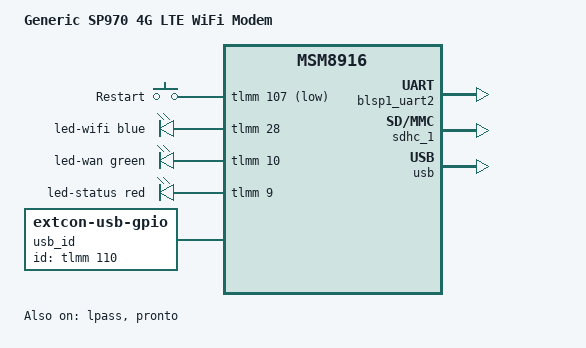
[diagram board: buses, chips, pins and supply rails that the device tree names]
// SPDX-License-Identifier: GPL-2.0-only
/*
 * Copyright (C) 2021-2022 HandsomeYingyan
 * Unified device tree for kernel 6.12+ compatibility
 */

/dts-v1/;

#include <dt-bindings/gpio/gpio.h>
#include <dt-bindings/input/input.h>
#include <dt-bindings/leds/common.h>
#include <dt-bindings/pinctrl/qcom,pmic-gpio.h>
#include <dt-bindings/sound/apq8016-lpass.h>
#include "msm8916-pm8916.dtsi"
#include "msm8916-modem.dtsi"

/ {
	model = "Generic SP970 4G LTE WiFi Modem";
	compatible = "generic,sp970", "qcom,msm8916";
	chassis-type = "embedded";

	aliases {
		serial0 = &blsp1_uart2;
		mmc0 = &sdhc_1;
	};

	chosen {
		stdout-path = "serial0";
	};

	reserved-memory {
		mpss_mem: gps_mem: mpss@86800000 {
			reg = <0x0 0x86800000 0x0 0x5500000>;
			no-map;
		};
	};

	gpio-keys {
		compatible = "gpio-keys";
		pinctrl-names = "default";
		pinctrl-0 = <&gpio_keys_default>;

		button-restart {
			label = "Restart";
			gpios = <&tlmm 107 GPIO_ACTIVE_LOW>;
			linux,code = <KEY_RESTART>;
			debounce-interval = <15>;
		};
	};

	leds {
		compatible = "gpio-leds";
		pinctrl-names = "default";
		pinctrl-0 = <&gpio_leds_default>;

		led-wifi {
			color = <LED_COLOR_ID_BLUE>;
			function = LED_FUNCTION_WLAN;
			gpios = <&tlmm 28 GPIO_ACTIVE_HIGH>;
			linux,default-trigger = "phy0tx";
			default-state = "off";
		};

		led-wan {
			color = <LED_COLOR_ID_GREEN>;
			function = LED_FUNCTION_WAN;
			gpios = <&tlmm 10 GPIO_ACTIVE_HIGH>;
			default-state = "off";
		};

		led-status {
			color = <LED_COLOR_ID_RED>;
			function = LED_FUNCTION_STATUS;
			gpios = <&tlmm 9 GPIO_ACTIVE_HIGH>;
			linux,default-trigger = "heartbeat";
			default-state = "on";
		};
	};

	usb_id: usb-id {
		compatible = "linux,extcon-usb-gpio";
		id-gpios = <&tlmm 110 GPIO_ACTIVE_HIGH>;
		pinctrl-names = "default";
		pinctrl-0 = <&usb_id_default>;
	};
};

/*
 * The modem firmware sends a "query_size" memshare request for client ID 1,
 * but basically does not do anything with it. GPS works only if:
 * - Memshare is not present or
 * - Memshare replies to the request with an error
 * Overall it seems pointless to enable memshare for this device.
 */
&memshare {
	status = "disabled";
};

&blsp_dma {
	status = "okay";
};

&blsp1_uart2 {
	status = "okay";
};

&lpass {
	status = "okay";
};

&pronto {
	status = "okay";

	iris {
		compatible = "qcom,wcn3660b";
	};
};

&sdhc_1 {
	status = "okay";
	pinctrl-names = "default", "sleep";
	pinctrl-0 = <&sdc1_clk_on &sdc1_cmd_on &sdc1_data_on>;
	pinctrl-1 = <&sdc1_clk_off &sdc1_cmd_off &sdc1_data_off>;
};

&sound {
	status = "disabled";
};

&usb {
	status = "okay";
	extcon = <&usb_id>, <&usb_id>;
};

&usb_hs_phy {
	extcon = <&usb_id>;
};

&tlmm {
	gpio_keys_default: gpio-keys-default-state {
		pins = "gpio107";
		function = "gpio";
		drive-strength = <2>;
		bias-pull-up;
	};

	gpio_leds_default: gpio-leds-default-state {
		pins = "gpio9", "gpio10", "gpio28";
		function = "gpio";
		drive-strength = <2>;
		bias-disable;
	};

	usb_id_default: usb-id-default-state {
		pins = "gpio110";
		function = "gpio";
		drive-strength = <8>;
		bias-pull-up;
	};
};

&smd_rpm_regulators {
	vdd_l1_l2_l3-supply = <&pm8916_s3>;
	vdd_l4_l5_l6-supply = <&pm8916_s4>;
	vdd_l7-supply = <&pm8916_s4>;

	s3 {
		regulator-min-microvolt = <1200000>;
		regulator-max-microvolt = <1300000>;
	};

	s4 {
		regulator-min-microvolt = <1800000>;
		regulator-max-microvolt = <2100000>;
	};

	l1 {
		regulator-min-microvolt = <1225000>;
		regulator-max-microvolt = <1225000>;
	};

	l2 {
		regulator-min-microvolt = <1200000>;
		regulator-max-microvolt = <1200000>;
	};

	l4 {
		regulator-min-microvolt = <2050000>;
		regulator-max-microvolt = <2050000>;
	};

	l5 {
		regulator-min-microvolt = <1800000>;
		regulator-max-microvolt = <1800000>;
	};

	l6 {
		regulator-min-microvolt = <1800000>;
		regulator-max-microvolt = <1800000>;
	};

	l7 {
		regulator-min-microvolt = <1800000>;
		regulator-max-microvolt = <1800000>;
	};

	l8 {
		regulator-min-microvolt = <2850000>;
		regulator-max-microvolt = <2900000>;
	};

	l9 {
		regulator-min-microvolt = <3300000>;
		regulator-max-microvolt = <3300000>;
	};

	l10 {
		regulator-min-microvolt = <2700000>;
		regulator-max-microvolt = <2800000>;
	};

	l11 {
		regulator-min-microvolt = <1800000>;
		regulator-max-microvolt = <2950000>;
		regulator-allow-set-load;
		regulator-system-load = <200000>;
	};

	l12 {
		regulator-min-microvolt = <1800000>;
		regulator-max-microvolt = <2950000>;
	};

	l13 {
		regulator-min-microvolt = <3075000>;
		regulator-max-microvolt = <3075000>;
	};

	l14 {
		regulator-min-microvolt = <1800000>;
		regulator-max-microvolt = <3300000>;
	};

	l15 {
		regulator-min-microvolt = <1800000>;
		regulator-max-microvolt = <3300000>;
	};

	l16 {
		regulator-min-microvolt = <1800000>;
		regulator-max-microvolt = <3300000>;
	};

	l17 {
		regulator-min-microvolt = <2850000>;
		regulator-max-microvolt = <2850000>;
		regulator-always-on;
	};

	l18 {
		regulator-min-microvolt = <2700000>;
		regulator-max-microvolt = <2700000>;
	};
};
